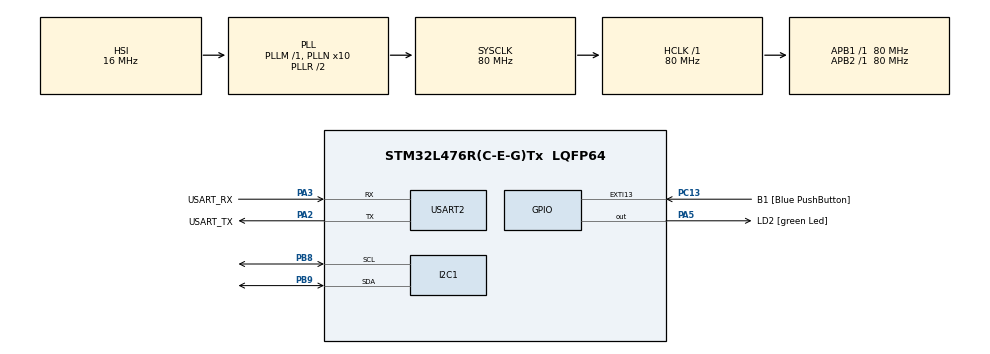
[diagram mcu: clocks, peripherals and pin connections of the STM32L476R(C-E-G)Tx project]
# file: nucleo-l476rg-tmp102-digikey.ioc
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I2C1.Timing=0x10909CEC
Mcu.Family=STM32L4
Mcu.Name=STM32L476R(C-E-G)Tx
Mcu.Package=LQFP64
NVIC.PriorityGroup=NVIC_PRIORITYGROUP_4
PA13\ (JTMS-SWDIO).GPIO_Label=TMS
PA13\ (JTMS-SWDIO).Mode=Serial_Wire
PA13\ (JTMS-SWDIO).Signal=SYS_JTMS-SWDIO
PA14\ (JTCK-SWCLK).GPIO_Label=TCK
PA14\ (JTCK-SWCLK).Mode=Serial_Wire
PA14\ (JTCK-SWCLK).Signal=SYS_JTCK-SWCLK
PA2.GPIO_Label=USART_TX
PA2.GPIO_Mode=GPIO_MODE_AF_PP
PA2.GPIO_PuPd=GPIO_NOPULL
PA2.GPIO_Speed=GPIO_SPEED_FREQ_VERY_HIGH
PA2.Mode=Asynchronous
PA2.Signal=USART2_TX
PA3.GPIO_Label=USART_RX
PA3.GPIO_Mode=GPIO_MODE_AF_PP
PA3.GPIO_PuPd=GPIO_NOPULL
PA3.GPIO_Speed=GPIO_SPEED_FREQ_VERY_HIGH
PA3.Mode=Asynchronous
PA3.Signal=USART2_RX
PA5.GPIO_Label=LD2 [green Led]
PA5.GPIO_ModeDefaultOutputPP=GPIO_MODE_OUTPUT_PP
PA5.GPIO_PuPd=GPIO_NOPULL
PA5.GPIO_Speed=GPIO_SPEED_FREQ_LOW
PA5.Signal=GPIO_Output
PB3\ (JTDO-TRACESWO).GPIO_Label=SWO
PB3\ (JTDO-TRACESWO).Signal=SYS_JTDO-SWO
PB8.Mode=I2C
PB8.Signal=I2C1_SCL
PB9.Mode=I2C
PB9.Signal=I2C1_SDA
PC13.GPIO_Label=B1 [Blue PushButton]
PC13.GPIO_ModeDefaultEXTI=GPIO_MODE_IT_FALLING
PC13.GPIO_PuPd=GPIO_NOPULL
PC13.Signal=GPXTI13
PC14-OSC32_IN\ (PC14).Mode=LSE-External-Oscillator
PC14-OSC32_IN\ (PC14).Signal=RCC_OSC32_IN
PC15-OSC32_OUT\ (PC15).Mode=LSE-External-Oscillator
PC15-OSC32_OUT\ (PC15).Signal=RCC_OSC32_OUT
PH0-OSC_IN\ (PH0).Signal=RCC_OSC_IN
PH1-OSC_OUT\ (PH1).Signal=RCC_OSC_OUT
ProjectManager.HeapSize=0x200
ProjectManager.StackSize=0x400
ProjectManager.TargetToolchain=STM32CubeIDE
RCC.ADCFreq_Value=64000000
RCC.AHBFreq_Value=80000000
RCC.APB1Freq_Value=80000000
RCC.APB1TimFreq_Value=80000000
RCC.APB2Freq_Value=80000000
RCC.APB2TimFreq_Value=80000000
RCC.CortexFreq_Value=80000000
RCC.HCLKFreq_Value=80000000
RCC.HSE_VALUE=8000000
RCC.HSI_VALUE=16000000
RCC.MSI_VALUE=4000000
RCC.PLLN=10
RCC.PLLSourceVirtual=RCC_PLLSOURCE_HSI
RCC.PREFETCH_ENABLE=1
RCC.SYSCLKFreq_VALUE=80000000
RCC.SYSCLKSource=RCC_SYSCLKSOURCE_PLLCLK
RCC.USBFreq_Value=64000000
RCC.VCOOutputFreq_Value=160000000
USART2.VirtualMode-Asynchronous=VM_ASYNC
board=NUCLEO-L476RG

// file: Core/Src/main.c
/* USER CODE BEGIN Header */
/**
  ******************************************************************************
  * @file           : main.c
  * @brief          : Main program body
  ******************************************************************************
  * @attention
  *
  * Copyright (c) 2022 STMicroelectronics.
  * All rights reserved.
  *
  * This software is licensed under terms that can be found in the LICENSE file
  * in the root directory of this software component.
  * If no LICENSE file comes with this software, it is provided AS-IS.
  *
  ******************************************************************************
  */
/* USER CODE END Header */
#include "main.h"

/* USER CODE BEGIN Includes */
#include <string.h>
#include <stdio.h>
/* USER CODE END Includes */

I2C_HandleTypeDef hi2c1;

UART_HandleTypeDef huart2;

/* USER CODE BEGIN PV */
static const uint8_t TMP102_ADDR = 0x48 <<1;
static const uint8_t REG_TEMP = 0x00;
/* USER CODE END PV */

void SystemClock_Config(void);
static void MX_GPIO_Init(void);
static void MX_USART2_UART_Init(void);
static void MX_I2C1_Init(void);

int main(void)
{
  /* USER CODE BEGIN 1 */
	HAL_StatusTypeDef ret;
	uint8_t buf[12];
	int16_t val; //odczytana wartosc z tmp102
	float temp_c; //konwersja

  /* USER CODE END 1 */

  /* MCU Configuration--------------------------------------------------------*/

  /* Reset of all peripherals, Initializes the Flash interface and the Systick. */
  HAL_Init();

  /* Configure the system clock */
  SystemClock_Config();

  /* Initialize all configured peripherals */
  MX_GPIO_Init();
  MX_USART2_UART_Init();
  MX_I2C1_Init();

  /* Infinite loop */
  /* USER CODE BEGIN WHILE */
  while (1)
  {
	  //Tell TMP102 that we want to read from teh temp register Send first byte
	  buf[0] = REG_TEMP;
	  ret = HAL_I2C_Master_Transmit(&hi2c1, TMP102_ADDR, buf, 1, HAL_MAX_DELAY); //dlaczego wysylamy tutaj buf chyba domyslnie jest tak ze wysyl sie adres najpierw a pozniej dane
	  if (  ret != HAL_OK){  					//tutaj obsluga bledu if OK idz dalej
		  strcpy( (char*)buf, "Error Tx\r\n" );
	  } else {

		  //Read 2 bytes from the temp register
		  ret = HAL_I2C_Master_Receive(&hi2c1, TMP102_ADDR, buf, 2, HAL_MAX_DELAY);
		  if (  ret != HAL_OK){
			  strcpy( (char*)buf, "Error Rx!\r\n" );
		  } else {

			  //Combine the bytes
			  val = ((int16_t)buf[0] << 4) | (buf[1] >> 4);

			  //Convert to 2's complement, since temperature can be negative
			  if ( val > 0x7FF ){
				  val |= 0xF000;
			  }

			  //Convert to float temperature value (Celsius)
			  temp_c = val * 0.0625;

			  //Convert temperature to decimal format
			  temp_c *= 100;
			  sprintf((char*)buf,
					  "%u.%02u C\r\n",
					  ((unsigned int)temp_c / 100),
					  ((unsigned int)temp_c % 100));
		  }

	  }

	  //Send out buffer (temperature or error message)
	  HAL_UART_Transmit(&huart2, buf, strlen((char*)buf), HAL_MAX_DELAY);

	  //Wait
	  HAL_Delay(500);
    /* USER CODE END WHILE */

  }
}

void SystemClock_Config(void)
{
  RCC_OscInitTypeDef RCC_OscInitStruct = {0};
  RCC_ClkInitTypeDef RCC_ClkInitStruct = {0};

  /** Configure the main internal regulator output voltage
  */
  if (HAL_PWREx_ControlVoltageScaling(PWR_REGULATOR_VOLTAGE_SCALE1) != HAL_OK)
  {
    Error_Handler();
  }
  /** Initializes the RCC Oscillators according to the specified parameters
  * in the RCC_OscInitTypeDef structure.
  */
  RCC_OscInitStruct.OscillatorType = RCC_OSCILLATORTYPE_HSI;
  RCC_OscInitStruct.HSIState = RCC_HSI_ON;
  RCC_OscInitStruct.HSICalibrationValue = RCC_HSICALIBRATION_DEFAULT;
  RCC_OscInitStruct.PLL.PLLState = RCC_PLL_ON;
  RCC_OscInitStruct.PLL.PLLSource = RCC_PLLSOURCE_HSI;
  RCC_OscInitStruct.PLL.PLLM = 1;
  RCC_OscInitStruct.PLL.PLLN = 10;
  RCC_OscInitStruct.PLL.PLLP = RCC_PLLP_DIV7;
  RCC_OscInitStruct.PLL.PLLQ = RCC_PLLQ_DIV2;
  RCC_OscInitStruct.PLL.PLLR = RCC_PLLR_DIV2;
  if (HAL_RCC_OscConfig(&RCC_OscInitStruct) != HAL_OK)
  {
    Error_Handler();
  }
  /** Initializes the CPU, AHB and APB buses clocks
  */
  RCC_ClkInitStruct.ClockType = RCC_CLOCKTYPE_HCLK|RCC_CLOCKTYPE_SYSCLK
                              |RCC_CLOCKTYPE_PCLK1|RCC_CLOCKTYPE_PCLK2;
  RCC_ClkInitStruct.SYSCLKSource = RCC_SYSCLKSOURCE_PLLCLK;
  RCC_ClkInitStruct.AHBCLKDivider = RCC_SYSCLK_DIV1;
  RCC_ClkInitStruct.APB1CLKDivider = RCC_HCLK_DIV1;
  RCC_ClkInitStruct.APB2CLKDivider = RCC_HCLK_DIV1;

  if (HAL_RCC_ClockConfig(&RCC_ClkInitStruct, FLASH_LATENCY_4) != HAL_OK)
  {
    Error_Handler();
  }
}

static void MX_I2C1_Init(void)
{

  hi2c1.Instance = I2C1;
  hi2c1.Init.Timing = 0x10909CEC;
  hi2c1.Init.OwnAddress1 = 0;
  hi2c1.Init.AddressingMode = I2C_ADDRESSINGMODE_7BIT;
  hi2c1.Init.DualAddressMode = I2C_DUALADDRESS_DISABLE;
  hi2c1.Init.OwnAddress2 = 0;
  hi2c1.Init.OwnAddress2Masks = I2C_OA2_NOMASK;
  hi2c1.Init.GeneralCallMode = I2C_GENERALCALL_DISABLE;
  hi2c1.Init.NoStretchMode = I2C_NOSTRETCH_DISABLE;
  if (HAL_I2C_Init(&hi2c1) != HAL_OK)
  {
    Error_Handler();
  }
  /** Configure Analogue filter
  */
  if (HAL_I2CEx_ConfigAnalogFilter(&hi2c1, I2C_ANALOGFILTER_ENABLE) != HAL_OK)
  {
    Error_Handler();
  }
  /** Configure Digital filter
  */
  if (HAL_I2CEx_ConfigDigitalFilter(&hi2c1, 0) != HAL_OK)
  {
    Error_Handler();
  }

}

static void MX_USART2_UART_Init(void)
{

  huart2.Instance = USART2;
  huart2.Init.BaudRate = 115200;
  huart2.Init.WordLength = UART_WORDLENGTH_8B;
  huart2.Init.StopBits = UART_STOPBITS_1;
  huart2.Init.Parity = UART_PARITY_NONE;
  huart2.Init.Mode = UART_MODE_TX_RX;
  huart2.Init.HwFlowCtl = UART_HWCONTROL_NONE;
  huart2.Init.OverSampling = UART_OVERSAMPLING_16;
  huart2.Init.OneBitSampling = UART_ONE_BIT_SAMPLE_DISABLE;
  huart2.AdvancedInit.AdvFeatureInit = UART_ADVFEATURE_NO_INIT;
  if (HAL_UART_Init(&huart2) != HAL_OK)
  {
    Error_Handler();
  }

}

static void MX_GPIO_Init(void)
{
  GPIO_InitTypeDef GPIO_InitStruct = {0};

  /* GPIO Ports Clock Enable */
  __HAL_RCC_GPIOC_CLK_ENABLE();
  __HAL_RCC_GPIOH_CLK_ENABLE();
  __HAL_RCC_GPIOA_CLK_ENABLE();
  __HAL_RCC_GPIOB_CLK_ENABLE();

  /*Configure GPIO pin Output Level */
  HAL_GPIO_WritePin(LD2_GPIO_Port, LD2_Pin, GPIO_PIN_RESET);

  /*Configure GPIO pin : B1_Pin */
  GPIO_InitStruct.Pin = B1_Pin;
  GPIO_InitStruct.Mode = GPIO_MODE_IT_FALLING;
  GPIO_InitStruct.Pull = GPIO_NOPULL;
  HAL_GPIO_Init(B1_GPIO_Port, &GPIO_InitStruct);

  /*Configure GPIO pin : LD2_Pin */
  GPIO_InitStruct.Pin = LD2_Pin;
  GPIO_InitStruct.Mode = GPIO_MODE_OUTPUT_PP;
  GPIO_InitStruct.Pull = GPIO_NOPULL;
  GPIO_InitStruct.Speed = GPIO_SPEED_FREQ_LOW;
  HAL_GPIO_Init(LD2_GPIO_Port, &GPIO_InitStruct);

}

void Error_Handler(void)
{
  __disable_irq();
  while (1)
  {
  }
}
